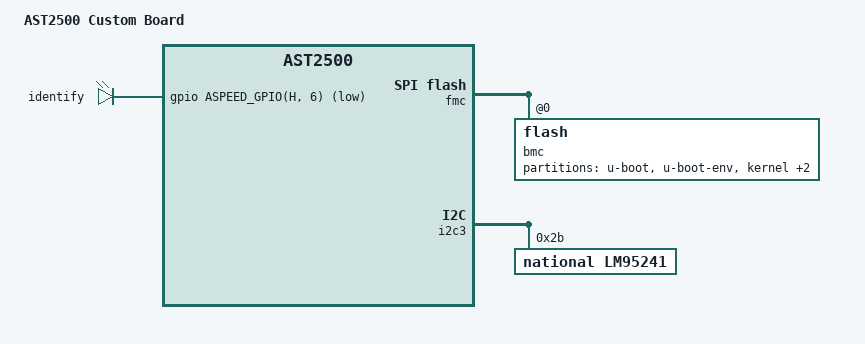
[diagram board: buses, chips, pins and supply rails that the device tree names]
#include "aspeed-ast2500-evb.dts"

#include <dt-bindings/gpio/gpio.h>
#include <dt-bindings/gpio/aspeed-gpio.h>

/ {
  model = "AST2500 Custom Board";
  compatible = "custom,ast2500-custom-board",
    "aspeed,ast2500";
};

&fmc {
    status = "okay";
    flash@0 {
        status = "okay";
        m25p,fast-read;
        label = "bmc";
        /delete-node/ partitions;
        partitions {
            compatible = "fixed-partitions";
            #address-cells = <1>;
            #size-cells = <1>;

            u-boot@0 {
                reg = <0x0 0x60000>;
                label = "u-boot";
            };

            u-boot-env@60000 {
                reg = <0x60000 0x20000>;
                label = "u-boot-env";
            };

            /* 將 Kernel 的起始位址改成 0x100000，結束位址推到 0xA00000 */
            kernel@100000 {
                reg = <0x100000 0x900000>;
                label = "kernel";
            };

            /* 將 rofs 的起始位址改成 0xA00000 */
            rofs@a00000 {
                reg = <0xA00000 0x2000000>;
                label = "rofs";
            };

            /* rwfs 接在 rofs 之後直到 Flash 結束 */
            rwfs@2000000 {
                reg = <0x2A00000 0x1600000>;
                label = "rwfs";
            };
        };
    };
};

&{/} {
  leds {
    compatible = "gpio-leds";
    identify {
      label = "identify";
			default-state = "keep";
      gpios = <&gpio ASPEED_GPIO(H, 6) GPIO_ACTIVE_LOW>;
    };
  };
};

&gpio {
  status = "okay";
  gpio-line-names =
  /* A0-A7 */ "","","","","","","","",
  /* B0-B7 */ "","","","","","","","",
  /* C0-C7 */ "","","","","","","","",
  /* D0-D7 */ "POWER_BUTTON","","RESET_BUTTON","","","","POWER_GOOD","",
  /* E0-E7 */ "","","","","","","","",
  /* F0-F7 */ "","","","","","","","",
  /* G0-G7 */ "","","","","","","","",
  /* H0-H7 */ "","","","","","","identify","";
};

&mac1 {
  status = "disabled";
};

&i2c3 {
  status = "okay";

  lm95241@2b {
    compatible = "national,lm95241";
    reg = <0x2b>;
  };
};
